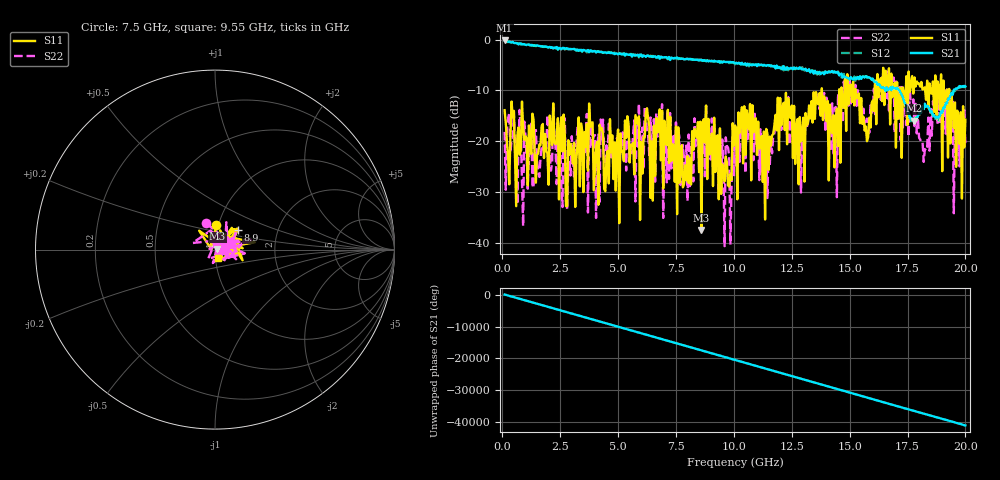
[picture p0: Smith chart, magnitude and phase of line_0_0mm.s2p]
#  HZ  S  RI  R  1.00
! Rohde & Schwarz ZVA67 4Ports - Version 4.11 - 1305.7002k04 SN: 101032
! Date: 2023-06-01 16:38:28
! Measurements: S11 S21 S12 S22
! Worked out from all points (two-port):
!   399 points, 100 MHz to 20 GHz, reference 1 ohm
!   highest |S21| = -0.18 dB at 100 MHz (marker M1); lowest = -16.0 dB at 17.8 GHz (marker M2)
!   |S21| within 3 dB of the highest: start of sweep to 5.582 GHz; 5.62 GHz to 5.88 GHz (259.6 MHz wide, 4.52 % of centre) (the widest 2 of 5)
!   lowest |S11| = -37.4 dB at 8.6 GHz (marker M3), VSWR 1.03, Z = 1.02 + j0.0114 ohm
!   |S11| at or under -10 dB: start of sweep to 13.8 GHz; 13.8 GHz to 14.55 GHz (745.4 MHz wide, 5.26 % of centre); 15.26 GHz to 16.08 GHz (825.6 MHz wide, 5.27 % of centre) (the widest 3 of 32)
!   |S22| runs from -40.6 to -6.3 dB; largest |S21 - S12| = 2
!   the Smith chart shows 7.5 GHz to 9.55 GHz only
!   S11 on the Smith chart (normalised r, x): 7.5 GHz: 0.98, +0.28; 8.9 GHz: 1.25, +0.28; 9.55 GHz: 1.03, -0.10
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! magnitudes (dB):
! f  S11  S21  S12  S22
! 100 MHz  -13.9  -0.2  -0.2  -18.1
! 650 MHz  -18.8  -0.7  -0.8  -32.4
! 750 MHz  -22.6  -0.7  -0.9  -13.8
! 900 MHz  -17.3  -0.9  -0.9  -36.7
! 950 MHz  -19.7  -0.9  -1.0  -16.1
! 3.45 GHz  -17.9  -2.4  -2.3  -18.2
! 5 GHz  -17.7  -2.9  -2.7  -20.5
! 5.05 GHz  -36.1  -2.7  -2.7  -27.6
! 6.75 GHz  -17.6  -3.3  -3.3  -18.6
! 7.5 GHz  -17.1  -3.7  -3.6  -16.3
! 8.55 GHz  -16.1  -4.0  -4.1  -17.9
! 8.6 GHz  -37.4  -4.0  -4.0  -22.4
! 8.9 GHz  -15.6  -4.3  -4.2  -15.6
! 9.55 GHz  -26.0  -4.3  -4.3  -25.4
! 9.85 GHz  -26.4  -4.4  -4.5  -40.3
! 10.05 GHz  -16.9  -4.6  -4.8  -17.8
! 11.35 GHz  -35.3  -5.1  -5.1  -29.4
! 11.9 GHz  -11.4  -5.6  -5.8  -15.2
! 13.4 GHz  -16.3  -6.2  -6.0  -14.1
! 16.7 GHz  -5.6  -9.8  -10.2  -14.0
! 17.8 GHz  -7.4  -16.0  -16.1  -17.0
! 20 GHz  -15.8  -9.2  -9.3  -20.9
